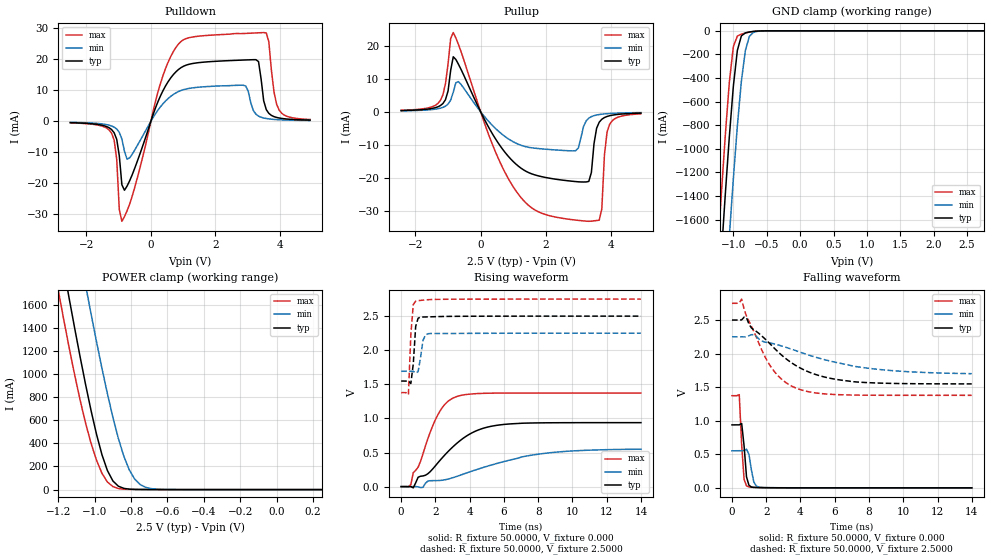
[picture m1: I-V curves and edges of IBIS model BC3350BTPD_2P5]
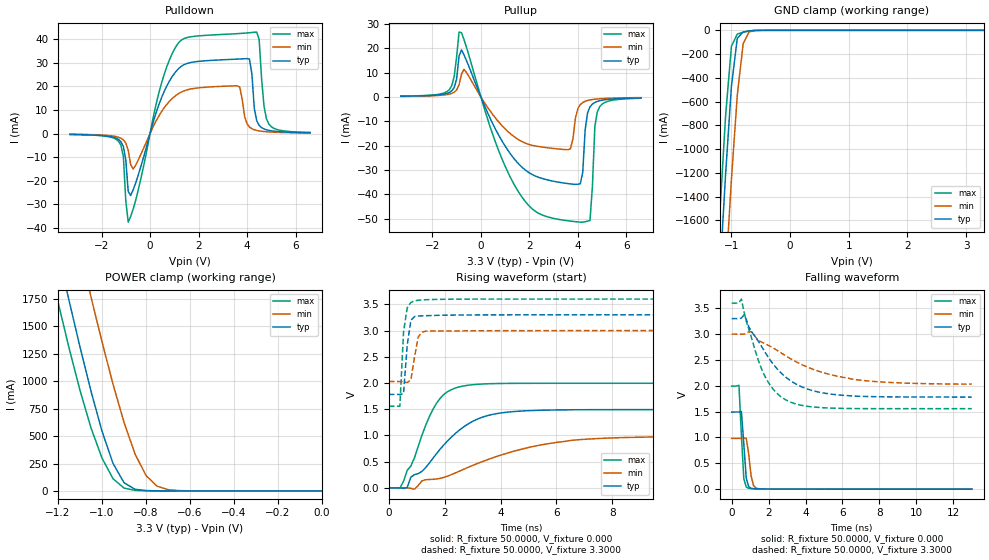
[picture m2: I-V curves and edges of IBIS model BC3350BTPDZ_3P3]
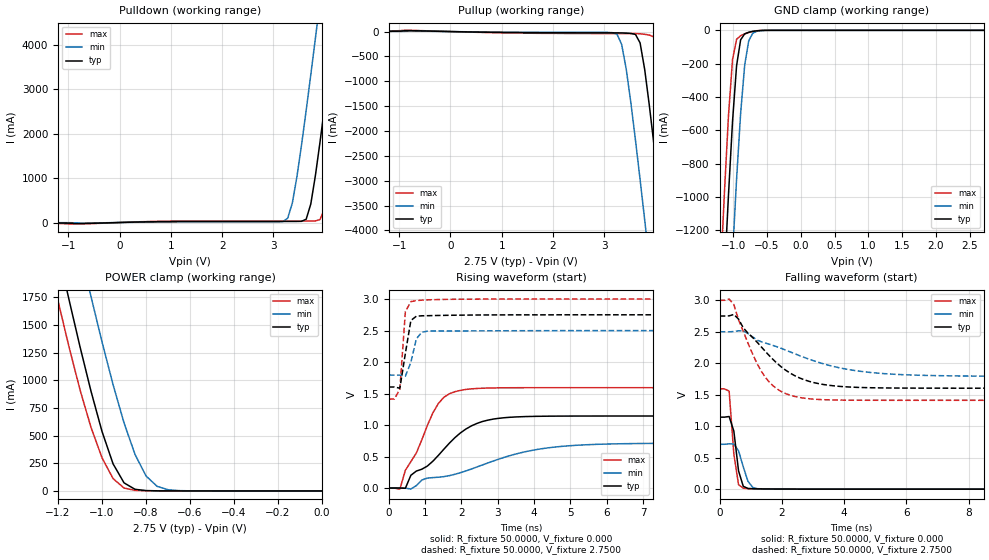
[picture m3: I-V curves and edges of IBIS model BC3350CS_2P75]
[IBIS ver]   3.2
[File name]   ic3000_switch.ibs
[File Rev]   1.0
[Date]   Wed March 26
[Source]   TIEplus
[Notes]
[Disclaimer] IMPORTANT NOTICE
  This information is provided on an AS IS basis and without warranty.
  IN NO EVENT SHALL TIEplus BE LIABLE FOR INCIDENTAL OR CONSEQUENTIAL
  DAMAGES ARISING FROM USE OF THIS INFORMATION. THIS DISCLAIMER OF
  WARRANTY EXTENDS TO THE USER OF THE INFORMATION, AND TO THEIR CUSTOMERS
  OR USERS OF PRODUCTS  AND IS IN LIEU OF ALL WARRANTIES WHETHER EXPRESS,
  IMPLIED, OR STATUTORY, INCLUDING IMPLIED WARRANTIES OF MERCHANTPCIELITY
  OR FITNESS FOR PARTICULAR PURPOSE.
|   Component IC3000_SWITCH
[Component]   IC3000_SWITCH
[Manufacturer]   TIEplus
[Package]
| variable   typ   min   max
R_pkg   56.7993m   6.7897m   112.0300m
L_pkg   1.1552n   0.1572n   2.6389n
C_pkg   0.3102p   0.2830p   10.2460p
[Pin]  signal_name   model_name   R_pin   L_pin   C_pin
C8		REFCLK-   REFCLK   217.47m		3.354n		0.45738p
C7		REFCLK+   REFCLK   242.82m		3.8455n		0.44994p
L14		RXN   EIO1G4A1W0_RXN		198.61m		2.8437n		0.49027p
M14		RXP   EIO1G4A1W0_RXP		197.04m		3.2043n		0.42236p
M6		TXN   EIO1G4A1W0_TXN		174.36m		2.538n		0.47014p
M5		TXP   EIO1G4A1W0_TXP		176.76m		2.8196n		0.38129p
[Diff Pin]   inv_pin   vdiff   tdelay_typ
C7   C8   NA   NA
M14   L14   NA   NA
M5   M6   NA   NA
[Model Selector]   BC3350BTPD
BC3350BTPD_2P5   Cell operated at VDDS=2.5V(typ) with Pulldown "on"
BC3350BTPDZ_2P5   Cell operated at VDDS=2.5V(typ) with Pulldown "off"
BC3350BTPD_3P3   Cell operated at VDDS=3.3V(typ) with Pulldown "on"
BC3350BTPDZ_3P3   Cell operated at VDDS=3.3V(typ) with Pulldown "off"
[Model Selector]   BC3350CS
BC3350CS_1P8   Cell operated at VDDS=1.8V(typ)
BC3350CS_2P5   Cell operated at VDDS=2.5V(typ)
BC3350CS_2P75   Cell operated at VDDS=2.75V(typ)
BC3350CS_3P3   Cell operated at VDDS=3.3V(typ)
[Model Selector]   BC3350CTPU
BC3350CTPU_2P5PU   Cell operated at VDDS=2.5V(typ) with Pulldown "on"
BC3350CTPU_2P5PUZ   Cell operated at VDDS=2.5V(typ) with Pulldown "off"
BC3350CTPU_3P3PU   Cell operated at VDDS=3.3V(typ) with Pulldown "on"
BC3350CTPU_3P3PUZ   Cell operated at VDDS=3.3V(typ) with Pulldown "off"
[Model Selector]   IC33SFSHY
IC33SFSHY_2P5   Cell operated at VDDS=2.5V(nom)
IC33SFSHY_3P3   Cell operated at VDDS=3.3V(nom)
[Model Selector]   IC33SHYPD
IC33SHYPD_2P5PD   Cell operated at VDDS=2.5V(typ)  with Pulldown "on"
IC33SHYPD_2P5PDZ   Cell operated at VDDS=2.5V(typ)  with Pulldown "off"
IC33SHYPD_2P75PD   Cell operated at VDDS=2.75V(typ) with Pulldown "on"
IC33SHYPD_2P75PDZ   Cell operated at VDDS=2.75V(typ) with Pulldown "off"
IC33SHYPD_3P3PD   Cell operated at VDDS=3.3V(typ)  with Pulldown "on"
IC33SHYPD_3P3PDZ   Cell operated at VDDS=3.3V(typ)  with Pulldown "off"
[Model Selector]   IC33SHYPU
IC33SHYPU_2P5PU   Cell operated at VDDS=2.5V(typ)  with Pullup "on"
IC33SHYPU_2P5PUZ   Cell operated at VDDS=2.5V(typ)  with Pullup "off"
IC33SHYPU_2P75PU   Cell operated at VDDS=2.75V(typ) with Pullup "on"
IC33SHYPU_2P75PUZ   Cell operated at VDDS=2.75V(typ) with Pullup "off"
IC33SHYPU_3P3PU   Cell operated at VDDS=3.3V(typ)  with Pullup "on"
IC33SHYPU_3P3PUZ   Cell operated at VDDS=3.3V(typ)  with Pullup "off"
[Model Selector]   IC33SPD
IC33SPD_2P5PD   Cell operated at VDDS=2.5V(typ) with pulldown "on"
IC33SPD_2P5PDZ   Cell operated at VDDS=2.5V(typ) with pulldown "off"
IC33SPD_3P3PD   Cell operated at VDDS=3.3V(typ) with pulldown "on"
IC33SPD_3P3PDZ   Cell operated at VDDS=3.3V(typ) with pulldown "off"
[Model Selector]   IC33T
IC33T_2P5   Cell operated at VDDS=2.5V(nom)
IC33T_3P3   Cell operated at VDDS=3.3V(nom)
[Model Selector]   OC3350BT
OC3350BT_2P5   Cell operated at VDDS=2.5V(nom)
OC3350BT_3P3   Cell operated at VDDS=3.3V(nom)
| Models and submodels in the file (42): BC3350BTPD_2P5 (I/O), BC3350BTPDZ_2P5 (I/O), BC3350BTPD_3P3 (I/O), BC3350BTPDZ_3P3 (I/O), BC3350CS_1P8 (I/O), BC3350CS_2P5 (I/O), BC3350CS_2P75 (I/O), BC3350CS_3P3 (I/O), BC3350CTPU_2P5PU (I/O), BC3350CTPU_2P5PUZ (I/O), BC3350CTPU_3P3PU (I/O), BC3350CTPU_3P3PUZ (I/O), EIO1G4A1W0_TXP (Output), EIO1G4A1W0_TXN (Output), EIO1G4A1W0_RXP (Input), EIO1G4A1W0_RXN (Input), IC33SFSHY_2P5 (Input), IC33SFSHY_3P3 (Input), IC33SHYPD_2P5PD (Input), IC33SHYPD_2P5PDZ (Input), IC33SHYPD_2P75PD (Input), IC33SHYPD_2P75PDZ (Input), IC33SHYPD_3P3PD (Input), IC33SHYPD_3P3PDZ (Input), IC33SHYPU_2P5PU (Input), IC33SHYPU_2P5PUZ (Input), IC33SHYPU_2P75PU (Input), IC33SHYPU_2P75PUZ (Input), IC33SHYPU_3P3PU (Input), IC33SHYPU_3P3PUZ (Input), IC33SPD_2P5PD (Input), IC33SPD_2P5PDZ (Input), IC33SPD_3P3PD (Input), IC33SPD_3P3PDZ (Input), IC33T_2P5 (Input), IC33T_3P3 (Input), OC3350BT_2P5 (3-state), OC3350BT_3P3 (3-state), OUM42 (Open_drain), PHY1394 (3-state), UBT059 (I/O), REFCLK (Input)
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|   Model BC3350BTPD_2P5
[Model]   BC3350BTPD_2P5
Model_type   I/O
Polarity   Non-Inverting
Enable   Active-Low
Vinl =   0.7500V
Vinh =   1.7500V
Vmeas =   1.2500V
Cref =  15.0000pF
Rref = 100.0000M
Vref =  0.000V
C_comp   1.5797pF   1.6027pF   1.6241pF
[Model Spec]
|   typ   min   max
Vinh   1.750V   1.575V   1.925V
Vinl   0.750V   0.675V   0.825V
Vmeas   1.250V   1.125V   1.375V
[Temperature Range]   25.0000   0.1250k   -40.0000
[Voltage Range]   2.5000V   2.2500V   2.7500V
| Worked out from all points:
|   slope of the pulldown table from 0 to 0.375 V, typ, clamps not added: 38 ohm
|   slope of the pullup table from 0 to 0.375 V, typ, clamps not added: 54.3 ohm
|   GND clamp passes 1 mA (typ) near -0.59 V on its own axis
|   POWER clamp passes 1 mA (typ) near -0.75 V on its own axis
|   rising waveform, R_fixture 50.0000, V_fixture 0.000: 20-80 % time 2.32ns typ, 4.4ns min, 1.28ns max; typ from 0 V to 0.938 V
|   rising waveform, R_fixture 50.0000, V_fixture 2.5000: 20-80 % time 159ps typ, 199ps min, 172ps max; typ from 1.55 V to 2.5 V
|   falling waveform, R_fixture 50.0000, V_fixture 0.000: 20-80 % time 188ps typ, 231ps min, 187ps max; typ from 0.938 V to 0 V
|   falling waveform, R_fixture 50.0000, V_fixture 2.5000: 20-80 % time 2.84ns typ, 4.62ns min, 1.75ns max; typ from 2.5 V to 1.55 V
[Pulldown]
| voltage   I(typ)   I(min)   I(max)
-2.5V     -459uA     -348uA     -515uA
-1.22V    -2.677mA   -1.519mA   -3.847mA
-1.06V    -5.844mA   -2.506mA   -12.3mA
-900mV    -20.51mA   -5.737mA   -32.31mA
-660mV    -19.25mA   -11.84mA   -26.77mA
380mV     9.961mA    5.703mA    14.88mA
1.02V     17.81mA    10.22mA    26.36mA
2.94V     19.79mA    11.41mA    28.36mA
3.26V     19.88mA    2.268mA    28.52mA
3.58V     3.771mA    876.2uA    28.53mA
3.98V     1.046mA    481.3uA    3.587mA
4.94V     365uA      228uA      561uA
[Pullup]
| voltage   I(typ)   I(min)   I(max)
-2.44V    372uA      280uA      460uA
-1.24V    1.86mA     1.082mA    3.367mA
-840mV    16.68mA    5.954mA    24.02mA
-680mV    14.39mA    9.14mA     20.37mA
1.08V     -15.82mA   -9.485mA   -23.91mA
2.92V     -21.15mA   -11.77mA   -32.82mA
3.32V     -21.09mA   -1.924mA   -33.19mA
3.56V     -4.98mA    -966.7uA   -32.96mA
3.72V     -2.251mA   -717.3uA   -29.34mA
3.8V      -1.74mA    -634.4uA   -13.11mA
3.96V     -1.186mA   -514.3uA   -3.788mA
4.92V     -398uA     -238uA     -615uA
[GND_clamp]
| voltage   I(typ)   I(min)   I(max)
-2.5V     -14.57A    -15.39A    -14.11A
-1.24V    -2.434A    -3.317A    -1.918A
-1.18V    -1.899A    -2.778A    -1.385A
-1.12V    -1.382A    -2.25A     -881mA
-1.06V    -896.4mA   -1.74A     -435.4mA
-1V       -470.1mA   -1.253A    -133.5mA
-940mV    -166.1mA   -806.6mA   -44.23mA
-880mV    -43.23mA   -428.6mA   -27.9mA
-820mV    -17.49mA   -166.7mA   -18.56mA
-760mV    -9.789mA   -47.14mA   -10.93mA
-700mV    -5.179mA   -13.1mA    -5.218mA
2.75V     0A         0A         0A
[POWER_clamp]
| voltage   I(typ)   I(min)   I(max)
-2.49V    14.58A     15.42A     14.11A
-1.2V     2.177A     3.077A     1.722A
-1.14V    1.65A      2.542A     1.224A
-1.05V    907.7mA    1.767A     573.8mA
-1.02V    683.1mA    1.519A     399.5mA
-990mV    477.9mA    1.278A     253.5mA
-930mV    164mA      827.7mA    65.56mA
-900mV    74.97mA    624.5mA    26.15mA
-840mV    10.76mA    289.2mA    3.692mA
-810mV    4.115mA    170.7mA    1.895mA
-750mV    1.035mA    43.44mA    990.9uA
250mV     0A         0A         0A
[Ramp]
| variable   typ   min   max
dV/dt_r   0.5625/2.2941n   0.3290/4.4907n   0.8232/1.2718n
dV/dt_f   0.5705/2.8139n   0.3294/4.7136n   0.8221/1.7310n
R_load = 50.0000
[Rising Waveform]
R_fixture = 50.0000
V_fixture = 0.000
V_fixture_min = 0.000
V_fixture_max = 0.000
| time   V(typ)   V(min)   V(max)
0s        1.092nV    27.63nV    575.1pV
565.7ps   400.3uV    -183.7uV   29.17mV
707.1ps   -18.27mV   681.9uV    203.8mV
989.9ps   137mV      -3.827mV   284.1mV
2.121ns   341.5mV    88.39mV    1.042V
3.111ns   603.7mV    137.9mV    1.307V
4.384ns   817.6mV    248.1mV    1.363V
5.798ns   905.6mV    353.6mV    1.371V
8.909ns   936.1mV    501.8mV    1.372V
14ns      937.6mV    548.4mV    1.372V
[Rising Waveform]
R_fixture = 50.0000
V_fixture = 2.5000
V_fixture_min = 2.2500
V_fixture_max = 2.7500
| time   V(typ)   V(min)   V(max)
0s        1.548V     1.691V     1.378V
424.2ps   1.549V     1.69V      1.349V
565.7ps   1.511V     1.69V      2.225V
707.1ps   1.794V     1.69V      2.668V
848.5ps   2.349V     1.664V     2.717V
989.9ps   2.468V     1.685V     2.725V
1.273ns   2.486V     2.142V     2.733V
1.414ns   2.487V     2.221V     2.737V
1.556ns   2.488V     2.24V      2.74V
14ns      2.499V     2.249V     2.748V
[Falling Waveform]
R_fixture = 50.0000
V_fixture = 0.000
V_fixture_min = 0.000
V_fixture_max = 0.000
| time   V(typ)   V(min)   V(max)
0s        937.6mV    552.3mV    1.372V
424.2ps   938.1mV    553.3mV    1.388V
565.7ps   959.4mV    552.2mV    640.5mV
707.1ps   622.9mV    558.5mV    126.6mV
848.5ps   163.8mV    574.7mV    30.03mV
989.9ps   39.65mV    499.6mV    13.53mV
1.273ns   7.152mV    89.86mV    6.479mV
1.414ns   5.946mV    28.74mV    4.938mV
1.697ns   4.197mV    5.705mV    2.744mV
14ns      1.083uV    19.75uV    294nV
[Falling Waveform]
R_fixture = 50.0000
V_fixture = 2.5000
V_fixture_min = 2.2500
V_fixture_max = 2.7500
| time   V(typ)   V(min)   V(max)
0s        2.499V     2.249V     2.748V
565.7ps   2.501V     2.249V     2.81V
848.5ps   2.532V     2.249V     2.556V
1.131ns   2.382V     2.281V     2.409V
2.121ns   2.17V      2.162V     1.863V
2.828ns   1.992V     2.118V     1.634V
3.818ns   1.808V     2.035V     1.478V
5.232ns   1.662V     1.921V     1.403V
7.071ns   1.581V     1.813V     1.382V
14ns      1.548V     1.7V       1.378V
|   Model BC3350BTPDZ_3P3
[Model]   BC3350BTPDZ_3P3
Model_type   I/O
Polarity   Non-Inverting
Enable   Active-Low
Vinl =   0.9900V
Vinh =   2.3100V
Vmeas =   1.6500V
Cref =  15.0000pF
Rref = 100.0000M
Vref =  0.000V
C_comp   1.9708pF   2.0638pF   1.9731pF
[Model Spec]
|   typ   min   max
Vinh   2.31V   2.10V   2.52V
Vinl   0.99V   0.90V   1.08V
Vmeas   1.65V   1.50V   1.80V
[Temperature Range]   25.0000   0.1250k   -40.0000
[Voltage Range]   3.3000V   3.0000V   3.6000V
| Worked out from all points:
|   slope of the pulldown table from 0 to 0.495 V, typ, clamps not added: 31.4 ohm
|   slope of the pullup table from 0 to 0.495 V, typ, clamps not added: 44.5 ohm
|   GND clamp passes 1 mA (typ) near -0.59 V on its own axis
|   POWER clamp passes 1 mA (typ) near -0.75 V on its own axis
|   rising waveform, R_fixture 50.0000, V_fixture 0.000: 20-80 % time 1.63ns typ, 3.18ns min, 928ps max; typ from 0 V to 1.49 V
|   rising waveform, R_fixture 50.0000, V_fixture 3.3000: 20-80 % time 167ps typ, 189ps min, 156ps max; typ from 1.78 V to 3.3 V
|   falling waveform, R_fixture 50.0000, V_fixture 0.000: 20-80 % time 181ps typ, 217ps min, 176ps max; typ from 1.49 V to 0 V
|   falling waveform, R_fixture 50.0000, V_fixture 3.3000: 20-80 % time 2.06ns typ, 3.39ns min, 1.33ns max; typ from 3.3 V to 1.78 V
[Pulldown]
| voltage   I(typ)   I(min)   I(max)
-3.3V     -363uA     -289uA     -392uA
-1.3V     -2.499mA   -1.558mA   -3.272mA
-1.1V     -5.495mA   -2.673mA   -9.753mA
-900mV    -24.57mA   -7.086mA   -37.63mA
-700mV    -23.98mA   -15.08mA   -32.22mA
400mV     13.29mA    8.099mA    18.71mA
1.1V      26.74mA    16.46mA    37.45mA
3.6V      31.62mA    20.28mA    42.43mA
4.1V      31.65mA    2.775mA    42.82mA
4.4V      5.418mA    1.337mA    43.09mA
4.9V      1.364mA    700.9uA    4.045mA
6.6V      367uA      263uA      482uA
[Pullup]
| voltage   I(typ)   I(min)   I(max)
-3.3V     276uA      222uA      319uA
-1.3V     1.831mA    1.157mA    3.006mA
-800mV    19.29mA    9.256mA    26.38mA
600mV     -13.2mA    -8.655mA   -18.5mA
1.6V      -27.94mA   -17.82mA   -39.75mA
3.7V      -35.73mA   -21.26mA   -51mA
4.2V      -31.01mA   -2.304mA   -51.44mA
4.3V      -13.58mA   -1.804mA   -51.23mA
4.5V      -4.094mA   -1.249mA   -50.72mA
4.7V      -2.272mA   -950.1uA   -12.21mA
4.9V      -1.556mA   -765.1uA   -4.03mA
6.6V      -413uA     -285uA     -545uA
[GND_clamp]
| voltage   I(typ)   I(min)   I(max)
-3.3V     -22.46A    -23.25A    -22.02A
-1.3V     -2.981A    -3.864A    -2.466A
-1.2V     -2.075A    -2.956A    -1.561A
-1.1V     -1.216A    -2.078A    -723.3mA
-1V       -470.1mA   -1.253A    -133.5mA
-900mV    -66.71mA   -544.3mA   -31.64mA
-800mV    -14.21mA   -112.3mA   -15.74mA
-700mV    -5.127mA   -13.09mA   -5.132mA
-600mV    -1.059mA   -2.3mA     -715.9uA
-400mV    -6.019uA   -45.28uA   -1.112uA
3.3V      155.2pA    1.105uA    124.9pA
[POWER_clamp]
| voltage   I(typ)   I(min)   I(max)
-3.3V     22.56A     23.38A     22.11A
-1.25V    2.627A     3.53A      2.158A
-1.2V     2.177A     3.077A     1.722A
-1.15V    1.736A     2.631A     1.304A
-1.05V    907.7mA    1.767A     573.8mA
-1V       543.6mA    1.358A     298.7mA
-950mV    250.4mA    972.4mA    111.1mA
-900mV    74.93mA    624.5mA    26.06mA
-850mV    15.02mA    336.8mA    4.862mA
-800mV    3.029mA    139.7mA    1.53mA
-750mV    983.5uA    43.42mA    893.5uA
0V        155.2pA    2.74nA     144.1pA
[Ramp]
| variable   typ   min   max
dV/dt_r   0.8954/1.6133n   0.5882/3.1510n   1.1967/0.9192n
dV/dt_f   0.9109/2.0429n   0.5806/3.3595n   1.2256/1.3213n
R_load = 50.0000
[Rising Waveform]
R_fixture = 50.0000
V_fixture = 0.000
V_fixture_min = 0.000
V_fixture_max = 0.000
| time   V(typ)   V(min)   V(max)
0s        1.535nV    33.99nV    724.7pV
393.9ps   892.9uV    -12.59uV   -9.215mV
656.6ps   6.864mV    1.945mV    333.6mV
787.9ps   205.4mV    -8.264mV   417.5mV
1.576ns   562.5mV    162.9mV    1.495V
1.97ns    820.4mV    200.7mV    1.781V
2.495ns   1.089V     311.8mV    1.922V
3.808ns   1.411V     589.5mV    1.989V
6.566ns   1.489V     908mV      1.994V
13ns      1.492V     980.3mV    1.994V
[Rising Waveform]
R_fixture = 50.0000
V_fixture = 3.3000
V_fixture_min = 3.0000
V_fixture_max = 3.6000
| time   V(typ)   V(min)   V(max)
0s        1.782V     2.028V     1.557V
393.9ps   1.782V     2.027V     1.558V
525.3ps   1.796V     2.029V     2.971V
656.6ps   2.718V     2.006V     3.434V
787.9ps   3.195V     2.059V     3.535V
919.2ps   3.267V     2.492V     3.567V
1.051ns   3.277V     2.877V     3.578V
1.182ns   3.28V      2.969V     3.583V
1.313ns   3.282V     2.988V     3.587V
13ns      3.3V       3V         3.6V
[Falling Waveform]
R_fixture = 50.0000
V_fixture = 0.000
V_fixture_min = 0.000
V_fixture_max = 0.000
| time   V(typ)   V(min)   V(max)
0s        1.492V     981.6mV    1.994V
393.9ps   1.493V     982.5mV    2.009V
525.3ps   1.504V     981.5mV    1.04V
656.6ps   872.4mV    993.1mV    201.7mV
787.9ps   215mV      984.3mV    42.64mV
919.2ps   48.51mV    684.9mV    15.65mV
1.051ns   16.52mV    255.2mV    10.73mV
1.182ns   10.39mV    70.59mV    7.904mV
1.444ns   6.791mV    9.904mV    4.275mV
13ns      677.3nV    10.11uV    291.6nV
[Falling Waveform]
R_fixture = 50.0000
V_fixture = 3.3000
V_fixture_min = 3.0000
V_fixture_max = 3.6000
| time   V(typ)   V(min)   V(max)
0s        3.3V       3V         3.6V
525.3ps   3.31V      3V         3.678V
656.6ps   3.369V     2.997V     3.449V
1.051ns   3.063V     3.05V      2.956V
1.707ns   2.71V      2.831V     2.253V
2.364ns   2.368V     2.707V     1.886V
3.152ns   2.107V     2.531V     1.69V
4.465ns   1.899V     2.312V     1.589V
6.566ns   1.802V     2.127V     1.56V
13ns      1.782V     2.032V     1.557V
|   Model BC3350CS_2P75
[Model]   BC3350CS_2P75
Model_type   I/O
Polarity   Non-Inverting
Enable   Active-Low
Vinl =   0.8200V
Vinh =   1.9300V
Vmeas =   1.3800V
Cref =   15.0pF
Rref =   100M
Vref =   0.00V
|   typ   min   max
C_comp   1.71pF   1.77pF   1.69pF
[Model Spec]
|   typ   min   max
Vinh   1.93V   1.75V   2.10V
Vinl   0.82V   0.75V   0.90V
Vmeas   1.38V   1.25V   1.50V
[Temperature Range]   25.0   125.0   -40.0
[Voltage Range]   2.75V   2.50V   3.00V
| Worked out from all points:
|   slope of the pulldown table from 0 to 0.412 V, typ, clamps not added: 34.6 ohm
|   slope of the pullup table from 0 to 0.412 V, typ, clamps not added: 48.8 ohm
|   GND clamp passes 1 mA (typ) near -0.59 V on its own axis
|   POWER clamp passes 1 mA (typ) near -0.75 V on its own axis
|   rising waveform, R_fixture 50.0000, V_fixture 0.000: 20-80 % time 1.4ns typ, 2.73ns min, 800ps max; typ from 0 V to 1.14 V
|   rising waveform, R_fixture 50.0000, V_fixture 2.7500: 20-80 % time 195ps typ, 189ps min, 118ps max; typ from 1.6 V to 2.75 V
|   falling waveform, R_fixture 50.0000, V_fixture 0.000: 20-80 % time 187ps typ, 269ps min, 183ps max; typ from 1.14 V to 0 V
|   falling waveform, R_fixture 50.0000, V_fixture 2.7500: 20-80 % time 1.47ns typ, 2.53ns min, 934ps max; typ from 2.75 V to 1.6 V
| (Vdd votage range)   1.50V   1.35V   1.65V
| (Process strength)   nominal   weak   strong
[Pulldown]
| voltage   I(typ)   I(min)   I(max)
-2.75V    -428uA     -334uA     -470uA
3.19V     23.93mA    22.8mA     33.02mA
3.37V     24.22mA    440.4mA    33.12mA
3.64V     74.24mA    2.53A      33.58mA
3.73V     418.4mA    3.335A     34.11mA
3.82V     1.061A     4.159A     35.52mA
3.91V     1.817A     4.995A     66.01mA
4V        2.619A     5.842A     316.8mA
4.18V     4.289A     7.553A     1.552A
4.45V     6.865A     10.15A     3.993A
4.54V     7.733A     11.02A     4.845A
5.44V     16.53A     19.82A     13.61A
[Pullup]
| voltage   I(typ)   I(min)   I(max)
-2.69V    349uA      272uA      421uA
3.25V     -26.63mA   -54.43mA   -39.52mA
3.34V     -27.5mA    -257mA     -39.61mA
3.43V     -30.87mA   -758.6mA   -39.71mA
3.7V      -228.6mA   -2.978A    -45.23mA
3.79V     -765.9mA   -3.794A    -55.21mA
3.97V     -2.272A    -5.468A    -108.9mA
4.06V     -3.091A    -6.318A    -459.5mA
4.15V     -3.929A    -7.174A    -1.147A
4.42V     -6.497A    -9.768A    -3.604A
4.51V     -7.365A    -10.64A    -4.46A
5.5V      -17.05A    -20.32A    -14.13A
[GND_clamp]
| voltage   I(typ)   I(min)   I(max)
-2.75V    -17.05A    -17.86A    -16.59A
-1.19V    -2.002A    -2.887A    -1.485A
-1.13V    -1.481A    -2.357A    -974mA
-1.07V    -988.2mA   -1.843A    -513.5mA
-1.01V    -547.1mA   -1.35A     -175.6mA
-950mV    -212.8mA   -893.9mA   -53.78mA
-890mV    -56.89mA   -498.7mA   -32.19mA
-830mV    -21.15mA   -209mA     -21.63mA
-770mV    -11.63mA   -62.48mA   -13.06mA
-710mV    -6.281mA   -17.15mA   -6.465mA
-650mV    -2.795mA   -5.685mA   -2.37mA
2.71V     161.2pA    121.2nA    140.1pA
[POWER_clamp]
| voltage   I(typ)   I(min)   I(max)
-2.75V    17.12A     17.96A     16.66A
-1.2V     2.167A     3.062A     1.716A
-1.15V    1.727A     2.616A     1.3A
-1.05V    899.2mA    1.754A     572.6mA
-1V       536.3mA    1.345A     298.8mA
-950mV    245.3mA    960.6mA    111.5mA
-900mV    72.81mA    614.2mA    26.23mA
-850mV    14.59mA    328.9mA    4.932mA
-800mV    2.989mA    135.1mA    1.575mA
-750mV    997.4uA    41.7mA     924.5uA
-650mV    310.2uA    2.816mA    338.3uA
0V        166.9pA    2.584nA    161.6pA
[Ramp]
| variable   typ   min   max
dV/dt_r   0.6862/1.3889n   0.4277/2.7000n   0.9559/0.7918n
dV/dt_f   0.6878/1.4530n   0.4241/2.5089n   0.9530/0.9244n
R_load = 50.0000
[Rising Waveform]
R_fixture = 50.0000
V_fixture = 0.000
V_fixture_min = 0.000
V_fixture_max = 0.000
| time   V(typ)   V(min)   V(max)
0s        1.165nV    30.15nV    566.8pV
303ps     245.9uV    982.9uV    -17.68mV
454.5ps   -3.561mV   -1.183mV   282.1mV
606.1ps   202.5mV    -15.34mV   419.4mV
909.1ps   299.3mV    128mV      767.5mV
1.364ns   518.6mV    171.9mV    1.343V
1.97ns    874.7mV    243.5mV    1.55V
2.879ns   1.095V     429.9mV    1.589V
5.152ns   1.143V     678.4mV    1.593V
15ns      1.144V     712.9mV    1.593V
[Rising Waveform]
R_fixture = 50.0000
V_fixture = 2.7500
V_fixture_min = 2.5000
V_fixture_max = 3.0000
| time   V(typ)   V(min)   V(max)
0s        1.604V     1.793V     1.412V
151.5ps   1.604V     1.793V     1.412V
303ps     1.585V     1.793V     1.571V
454.5ps   2.136V     1.776V     2.798V
606.1ps   2.66V      1.995V     2.959V
757.6ps   2.728V     2.37V      2.976V
909.1ps   2.734V     2.473V     2.983V
1.212ns   2.738V     2.493V     2.99V
3.636ns   2.749V     2.498V     3V
15ns      2.75V      2.5V       3V
[Falling Waveform]
R_fixture = 50.0000
V_fixture = 0.000
V_fixture_min = 0.000
V_fixture_max = 0.000
| time   V(typ)   V(min)   V(max)
0s        1.144V     712.9mV    1.593V
151.5ps   1.144V     712.9mV    1.593V
303ps     1.154V     720.5mV    1.558V
454.5ps   922.5mV    716.6mV    558.9mV
606.1ps   289.3mV    608.7mV    71mV
757.6ps   44.97mV    353.9mV    14.61mV
909.1ps   11.72mV    125.2mV    7.665mV
1.061ns   7.02mV     28.39mV    5.42mV
1.364ns   4.248mV    3.668mV    2.958mV
15ns      375.4nV    195.7nV    251.4nV
[Falling Waveform]
R_fixture = 50.0000
V_fixture = 2.7500
V_fixture_min = 2.5000
V_fixture_max = 3.0000
| time   V(typ)   V(min)   V(max)
0s        2.75V      2.5V       3V
303ps     2.753V     2.498V     3.019V
454.5ps   2.775V     2.504V     2.931V
1.061ns   2.407V     2.418V     2.142V
1.515ns   2.162V     2.313V     1.746V
1.97ns    1.946V     2.238V     1.552V
2.424ns   1.799V     2.149V     1.471V
3.485ns   1.652V     1.97V      1.419V
5.606ns   1.606V     1.825V     1.412V
15ns      1.604V     1.793V     1.412V
